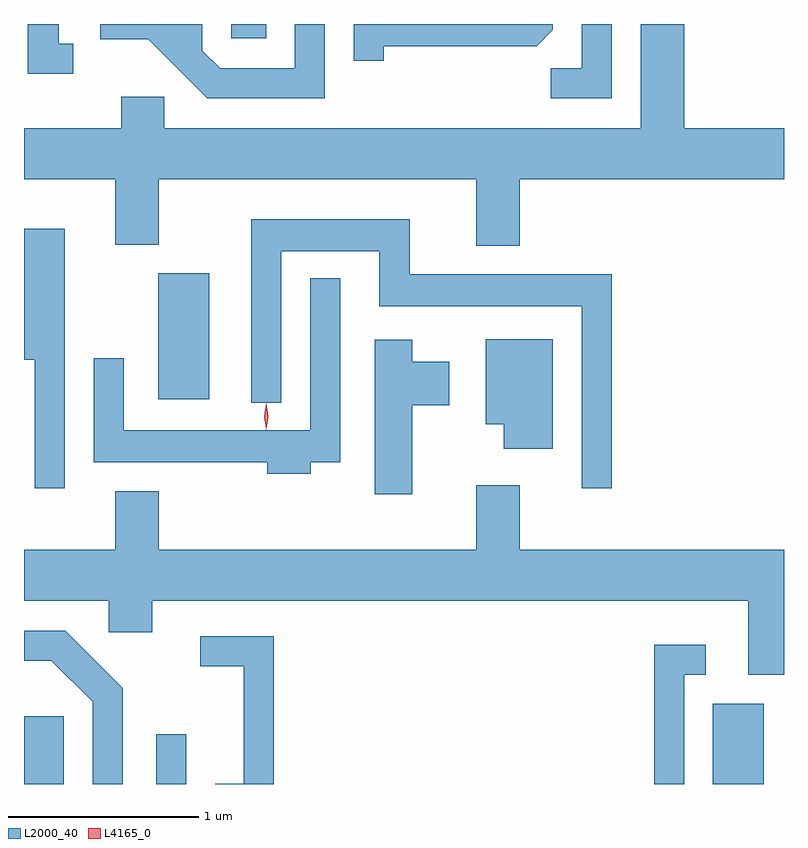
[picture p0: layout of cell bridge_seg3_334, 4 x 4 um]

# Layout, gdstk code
import gdstk
lib = gdstk.Library(unit=1e-6, precision=1e-09)
def R(c, l, rs):  # rectangles x0, y0, x1, y1
    for r in rs: c.add(gdstk.rectangle(r[:2], r[2:], *l))
def P(c, l, *ps):  # polygons
    for p in ps: c.add(gdstk.Polygon(p, *l))
L2000_40 = (2000, 40)
L4165_0 = (4165, 0)

bridge_seg3_334 = lib.new_cell('bridge_seg3_334')
R(bridge_seg3_334, L2000_40, [(540.16,1125.052,540.369,1125.409), (540.856,1125.052,541.014,1125.313), (543.786,1125.052,544.054,1125.474), (540.866,1127.076,541.134,1127.739), (541.251,1128.976,541.434,1129.052)])
P(bridge_seg3_334, L2000_40, [(544.16,1128.504),(543.634,1128.504),(543.634,1129.052),(543.406,1129.052),(543.406,1128.504),(540.899,1128.504),(540.899,1128.669),(540.671,1128.669),(540.671,1128.504),(540.16,1128.504),(540.16,1128.236),(540.641,1128.236),(540.641,1127.891),(540.869,1127.891),(540.869,1128.236),(542.541,1128.236),(542.541,1127.886),(542.769,1127.886),(542.769,1128.236),(544.16,1128.236)],
  [(541.744,1129.052),(541.586,1129.052),(541.586,1128.819),(541.192,1128.819),(541.099,1128.912),(541.099,1129.052),(540.561,1129.052),(540.561,1128.971),(540.814,1128.971),(541.124,1128.661),(541.744,1128.661)],
  [(542.054,1128.936),(542.859,1128.936),(542.944,1129.022),(542.944,1129.052),(541.896,1129.052),(541.896,1128.858),(542.054,1128.858)],
  [(540.418,1128.949),(540.344,1128.949),(540.344,1129.052),(540.181,1129.052),(540.181,1128.791),(540.418,1128.791)],
  [(543.254,1129.052),(543.096,1129.052),(543.096,1128.819),(542.933,1128.819),(542.933,1128.661),(543.254,1128.661)],
  [(543.254,1127.734),(542.189,1127.734),(542.189,1128.024),(541.356,1128.024),(541.356,1127.058),(541.514,1127.058),(541.514,1127.856),(542.031,1127.856),(542.031,1127.566),(543.096,1127.566),(543.096,1126.608),(543.254,1126.608)],
  [(540.374,1127.974),(540.16,1127.974),(540.16,1127.286),(540.216,1127.286),(540.216,1126.608),(540.374,1126.608)],
  [(541.669,1126.746),(541.824,1126.746),(541.824,1127.713),(541.666,1127.713),(541.666,1126.914),(540.684,1126.914),(540.684,1127.293),(540.526,1127.293),(540.526,1126.746),(541.441,1126.746),(541.441,1126.686),(541.669,1126.686)],
  [(542.944,1127.394),(542.591,1127.394),(542.591,1126.946),(542.686,1126.946),(542.686,1126.816),(542.944,1126.816)],
  [(542.204,1127.046),(542.399,1127.046),(542.399,1127.274),(542.204,1127.274),(542.204,1127.389),(542.006,1127.389),(542.006,1126.576),(542.204,1126.576)],
  [(544.16,1126.284),(542.769,1126.284),(542.769,1126.624),(542.541,1126.624),(542.541,1126.284),(540.869,1126.284),(540.869,1126.594),(540.641,1126.594),(540.641,1126.284),(540.16,1126.284),(540.16,1126.016),(540.606,1126.016),(540.606,1125.851),(540.834,1125.851),(540.834,1126.016),(543.971,1126.016),(543.971,1125.626),(544.16,1125.626)],
  [(540.679,1125.557),(540.377,1125.859),(540.16,1125.859),(540.16,1125.701),(540.304,1125.701),(540.521,1125.484),(540.521,1125.052),(540.679,1125.052)],
  [(541.474,1125.829),(541.088,1125.829),(541.088,1125.671),(541.316,1125.671),(541.316,1125.054),(541.166,1125.054),(541.166,1125.052),(541.474,1125.052)],
  [(543.634,1125.626),(543.748,1125.626),(543.748,1125.784),(543.476,1125.784),(543.476,1125.052),(543.634,1125.052)])
P(bridge_seg3_334, L4165_0, [(541.435,1126.919),(541.434,1126.92),(541.425,1126.986),(541.434,1127.052),(541.435,1127.053),(541.435,1127.052),(541.445,1126.986),(541.435,1126.92)],
  [(541.435,1126.917),(541.434,1126.918),(541.425,1126.986),(541.434,1127.056),(541.435,1127.056),(541.436,1127.056),(541.445,1126.986),(541.436,1126.918)])

lib.write_gds('bridge_seg3_334.gds')
